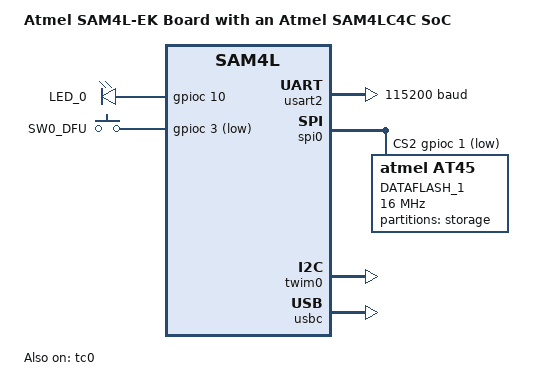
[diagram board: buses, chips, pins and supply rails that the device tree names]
/*
 * Copyright (c) 2020 Gerson Fernando Budke <nandojve@gmail.com>
 * SPDX-License-Identifier: Apache-2.0
 */

/dts-v1/;

#include <atmel/sam4lx4.dtsi>
#include "sam4l_ek-pinctrl.dtsi"

/ {
	model = "Atmel SAM4L-EK Board with an Atmel SAM4LC4C SoC";
	compatible = "atmel,sam4l_ek";

	aliases {
		i2c-0 = &twim0;
		led0 = &user_led;
		sw0 = &sw0_dfu;
	};

	chosen {
		zephyr,console = &usart2;
		zephyr,shell-uart = &usart2;
		zephyr,sram = &sram0;
		zephyr,flash = &flash0;
	};

	leds {
		compatible = "gpio-leds";
		user_led: led_0 {
			gpios = <&gpioc 10 GPIO_ACTIVE_HIGH>;
			label = "LED_0";
		};
	};

	gpio_keys {
		compatible = "gpio-keys";

		sw0_dfu: button_1 {
			label = "SW0_DFU";
			gpios = <&gpioc 3 GPIO_ACTIVE_LOW>;
		};
	};
};

&cpu0 {
	clock-frequency = <48000000>;
};

&usart2 {
	status = "okay";
	current-speed = <115200>;

	pinctrl-0 = <&usart2_default>;
	pinctrl-names = "default";
};

&spi0 {
	status = "okay";

	pinctrl-0 = <&spi0_default>;
	pinctrl-names = "default";

	cs-gpios = <&gpioa 2 GPIO_ACTIVE_LOW>,
		   <&gpioc 0 GPIO_ACTIVE_LOW>,
		   <&gpioc 1 GPIO_ACTIVE_LOW>;

	at45db: at45db081d@2 {
		compatible = "atmel,at45";
		reg = <2>;
		spi-max-frequency = <16000000>;
		label = "DATAFLASH_1";
		jedec-id = [1f 25 00];
		size = <8388608>;
		sector-size = <65536>;
		block-size = <2048>;
		page-size = <256>;
		enter-dpd-delay = <3000>;
		exit-dpd-delay = <35000>;
	};

};

&at45db {
	partitions {
		compatible = "fixed-partitions";
		#address-cells = <1>;
		#size-cells = <1>;

		storage_partition: partition@0 {
			label = "storage";
			reg = <0x00000000 0x00100000>;
		};
	};
};

&tc0 {
	clk = <4>;
	status = "okay";
};

&twim0 {
	status = "okay";

	pinctrl-0 = <&twi0_default>;
	pinctrl-names = "default";

	std-clk-slew-lim = <0>;
	std-clk-strength-low = "0.5";
	std-data-slew-lim = <0>;
	std-data-strength-low = "0.5";

	hs-clk-slew-lim = <0>;
	hs-clk-strength-high = "0.5";
	hs-clk-strength-low = "0.5";
	hs-data-slew-lim = <0>;
	hs-data-strength-low = "0.5";

	hs-master-code = <0>;
};

zephyr_udc0: &usbc {
	status = "okay";

	pinctrl-0 = <&usbc_default>;
	pinctrl-names = "default";
};
